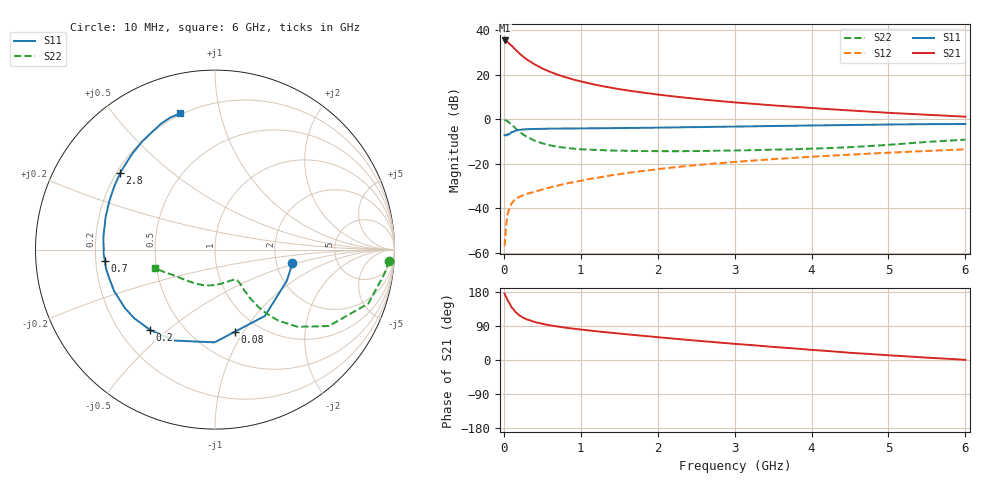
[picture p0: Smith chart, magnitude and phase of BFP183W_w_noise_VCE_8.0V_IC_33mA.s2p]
! Infineon Technologies  Discrete & RF Semiconductors
! BFP183W
! VCE =  8.0 V,  IC =  33 mA
! Common Emitter S-Parameters:  Jan 2017
# GHz  S  MA  R  50
!  f  S11  S21  S12  S22
! GHz  MAG  ANG  MAG  ANG  MAG  ANG  MAG  ANG
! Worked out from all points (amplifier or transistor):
!   77 points, 10 MHz to 6 GHz, reference 50 ohm
!   highest |S21| = 35.4 dB at 10 MHz (marker M1)
!   |S21| within 3 dB of that: start of sweep to 119.3 MHz
!   unconditionally stable (mu >= 1): 932.7 MHz to 3.423 GHz
!   at 130 MHz: K = 0.30, MSG = 34.4 dB, |S12| = -36.7 dB
!   at 2.2 GHz: K = 1.06, MAG = 14.5 dB, |S12| = -21.7 dB
!   at 6 GHz: K = 0.86, MSG = 7.3 dB, |S12| = -13.5 dB
!   lowest NFmin = 1.47 dB at 450 MHz
!   S11 on the Smith chart (normalised r, x): 10 MHz: 2.45, -0.47; 80 MHz: 0.78, -0.91; 200 MHz: 0.33, -0.44; 700 MHz: 0.24, -0.05; 2.8 GHz: 0.21, +0.34; 6 GHz: 0.19, +0.76
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0.01  0.4381 -10.1  59.22 175.2  0.0014 98.0  0.9708 -3.7
0.02  0.4361 -23.6  58.27 170.0  0.0024 84.9  0.9549 -7.9
0.05  0.4627 -53.0  54.26 157.1  0.0075 70.0  0.9054 -19.4
0.08  0.4709 -76.5  48.33 147.1  0.0106 64.5  0.8139 -27.5
0.1  0.5169 -90.3  45.36 139.2  0.0127 62.4  0.7637 -33.9
0.15  0.5544 -113.9  37.03 126.9  0.0161 54.2  0.629 -43.1
0.2  0.5753 -128.8  30.51 118.0  0.0179 51.9  0.5301 -48.3
0.25  0.5903 -139.5  25.71 111.7  0.0195 48.7  0.4564 -51.2
0.3  0.5985 -147.0  22.05 107.1  0.021 49.0  0.4009 -52.9
0.4  0.6074 -157.6  17.14 100.2  0.0235 50.5  0.3298 -54.2
0.5  0.6105 -164.6  13.88 95.4  0.0263 52.0  0.2876 -54.3
0.6  0.6163 -170.0  11.71 91.5  0.0294 54.4  0.2595 -54.1
0.7  0.6169 -174.2  10.06 88.4  0.0321 56.1  0.2403 -53.7
0.9  0.6202 178.8  7.863 82.8  0.0384 59.1  0.2193 -53.9
1.1  0.6256 173.4  6.473 78.2  0.0451 61.0  0.2083 -54.8
1.5  0.6342 164.4  4.764 69.8  0.0583 62.6  0.1964 -59.0
2.1  0.6519 152.6  3.437 58.4  0.079 61.9  0.1913 -70.5
2.8  0.6789 141.1  2.574 46.0  0.103 59.2  0.1969 -88.3
3.1  0.6883 136.6  2.326 41.2  0.113 57.6  0.2 -96.3
4.1  0.7286 122.9  1.748 25.3  0.1468 51.8  0.221 -123.0
5.1  0.7652 112.3  1.369 11.3  0.1802 45.5  0.2741 -148.8
6  0.7838 104.5  1.144 0.4  0.2112 39.3  0.3479 -162.5
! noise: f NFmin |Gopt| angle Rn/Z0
0.45  1.47  0.28  -179  0.1
0.9  1.51  0.31  -177  0.1
1.9  2  0.46  -156  0.11
2.4  2.24  0.51  -151  0.16
